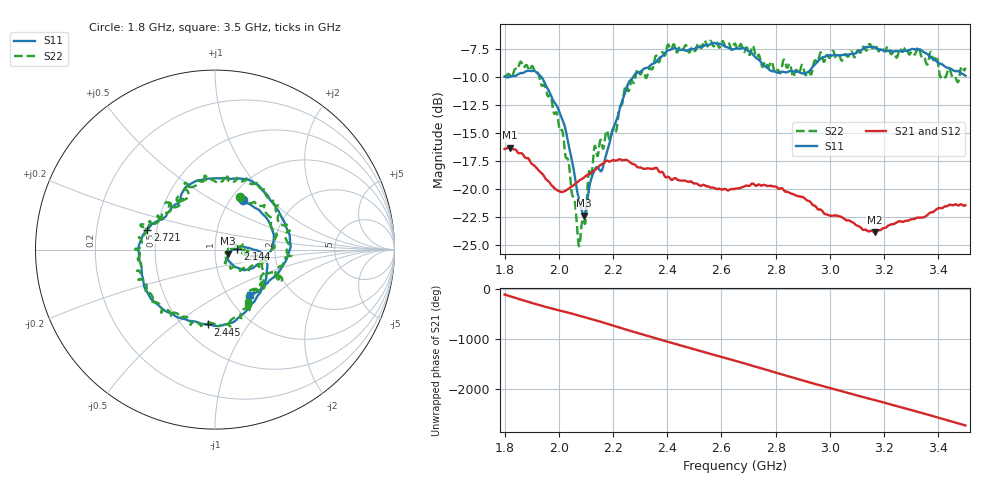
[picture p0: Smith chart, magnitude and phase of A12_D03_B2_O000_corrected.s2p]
! Created with skrf 1.9.0 (http://scikit-rf.org).
# Hz S RI R 50.0
!freq ReS11 ImS11 ReS21 ImS21 ReS12 ImS12 ReS22 ImS22
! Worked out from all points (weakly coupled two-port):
!   1601 points, 1.8 GHz to 3.5 GHz, reference 50 ohm
!   highest |S21| = -16.29 dB at 1.819 GHz (marker M1); lowest = -23.8 dB at 3.165 GHz (marker M2)
!   lowest |S11| = -22.4 dB at 2.093 GHz (marker M3), VSWR 1.17, Z = 57.8 - j2.61 ohm
!   |S11| at or under -10 dB: 1.806717 GHz to 1.81501 GHz (8.293 MHz wide, 0.458 % of centre); 1.937 GHz to 2.274 GHz (337.1 MHz wide, 16 % of centre)
!   |S22| runs from -25.1 to -6.7 dB; largest |S21 - S12| = 0.0027
!   S11 on the Smith chart (normalised r, x): 1.8 GHz: 1.13, +0.70; 2.144 GHz: 1.29, +0.00; 2.445 GHz: 0.65, -0.66; 2.721 GHz: 0.44, +0.11; 3.5 GHz: 1.26, -0.72
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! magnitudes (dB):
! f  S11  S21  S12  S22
! 1.8 GHz  -9.9  -16.4  -16.4  -9.8
! 1.819 GHz  -10.0  -16.3  -16.3  -9.8
! 1.903 GHz  -9.4  -17.8  -17.8  -9.0
! 1.968 GHz  -11.4  -19.5  -19.5  -11.6
! 2.022 GHz  -14.4  -20.2  -20.2  -16.6
! 2.072 GHz  -20.6  -19.3  -19.3  -24.8
! 2.084 GHz  -21.8  -19.1  -19.1  -23.2
! 2.093 GHz  -22.4  -18.9  -19.0  -22.8
! 2.112 GHz  -19.8  -18.6  -18.6  -18.4
! 2.144 GHz  -18.1  -18.1  -18.0  -17.0
! 2.209 GHz  -14.1  -17.5  -17.4  -15.0
! 2.259 GHz  -10.4  -17.5  -17.5  -11.2
! 2.367 GHz  -8.4  -18.3  -18.3  -8.6
! 2.445 GHz  -7.5  -19.2  -19.2  -7.3
! 2.65 GHz  -7.5  -20.0  -19.9  -7.0
! 2.721 GHz  -8.1  -19.6  -19.5  -7.5
! 2.934 GHz  -9.2  -21.3  -21.3  -9.6
! 3.165 GHz  -7.3  -23.8  -23.8  -7.2
! 3.217 GHz  -7.6  -23.2  -23.2  -7.4
! 3.375 GHz  -8.3  -22.1  -22.1  -7.9
! 3.415 GHz  -8.9  -21.7  -21.6  -9.8
! 3.5 GHz  -9.9  -21.4  -21.4  -9.1
